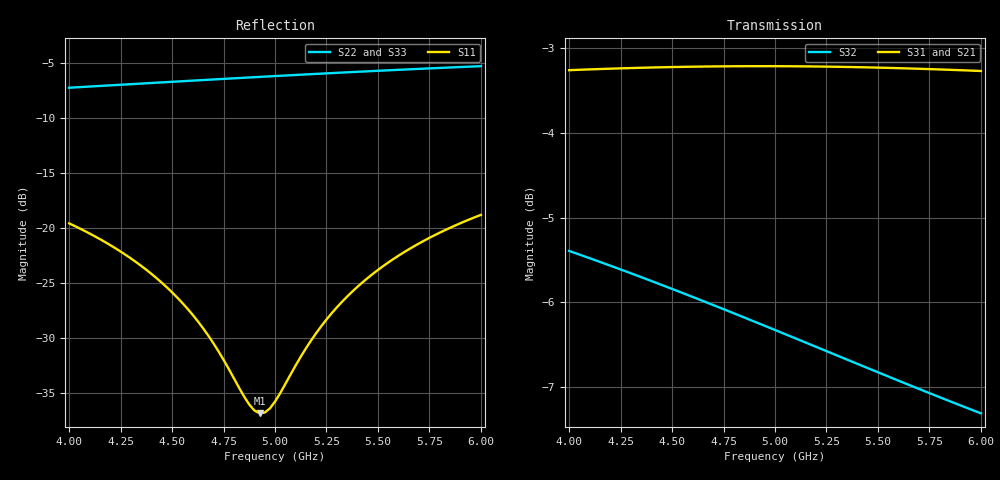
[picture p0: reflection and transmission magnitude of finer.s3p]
! yapnr rf: divider-osh-m-star, footprint re-simulated (refine 3)
! spec sha256 5c8ff818df422873aa88d55bef2dedd6a6ce6afaf8815cf4395bdffaf75e430d
! 3 ports renormalized to 50 ohm, e^(+jwt) convention
# GHz S RI R 50
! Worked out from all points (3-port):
!   81 points, 4 GHz to 6 GHz, reference 50 ohm
!   strongest paths, dB at 4 GHz, 4.5 GHz, 5 GHz, 5.5 GHz, 6 GHz:
!     S31: -3.3, -3.2, -3.2, -3.2, -3.3
!     S21: -3.3, -3.2, -3.2, -3.2, -3.3
!     S32: -5.4, -5.8, -6.3, -6.8, -7.3
!   lowest |S11| = -36.9 dB at 4.925 GHz (marker M1), VSWR 1.03, Z = 48.6 + j0.314 ohm
!   |S11| at or under -10 dB: start of sweep to end of sweep
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4  -0.0347 0.0991  -0.226 -0.6485  -0.226 -0.6485
   -0.226 -0.6485  0.3198 0.2938  -0.4013 -0.3575
   -0.226 -0.6485  -0.4013 -0.3575  0.3198 0.2938
4.5  -0.0146 0.0489  -0.3805 -0.5753  -0.3805 -0.5753
     -0.3805 -0.5752  0.4142 0.2047  -0.4604 -0.2204
     -0.3805 -0.5752  -0.4604 -0.2204  0.4142 0.2047
4.65  -0.0125 0.0327  -0.4228 -0.5455  -0.4228 -0.5455
      -0.4228 -0.5455  0.4379 0.1724  -0.4692 -0.1788
      -0.4228 -0.5455  -0.4692 -0.1788  0.4379 0.1724
4.875  -0.0132 0.00853  -0.4816 -0.4949  -0.4816 -0.4949
       -0.4816 -0.4948  0.4684 0.1197  -0.4754 -0.1175
       -0.4816 -0.4948  -0.4754 -0.1175  0.4684 0.1197
4.925  -0.014 0.00322  -0.4939 -0.4827  -0.4939 -0.4827
       -0.4939 -0.4826  0.4743 0.1074  -0.4757 -0.1041
       -0.4939 -0.4826  -0.4757 -0.1041  0.4743 0.1074
5  -0.0156 -0.00465  -0.5116 -0.4638  -0.5116 -0.4638
   -0.5116 -0.4637  0.4826 0.0885  -0.4754 -0.0844
   -0.5116 -0.4637  -0.4754 -0.0844  0.4826 0.0885
5.2  -0.0221 -0.0249  -0.5551 -0.4102  -0.5551 -0.4102
     -0.5551 -0.4102  0.5006 0.0363  -0.4707 -0.0333
     -0.5551 -0.4102  -0.4707 -0.0333  0.5006 0.0363
5.4  -0.0319 -0.0435  -0.5927 -0.3525  -0.5927 -0.3525
     -0.5927 -0.3525  0.5127 -0.0182  -0.4609 0.0149
     -0.5927 -0.3525  -0.4609 0.0149  0.5127 -0.0182
5.675  -0.0502 -0.0655  -0.6341 -0.2678  -0.6341 -0.2678
       -0.634 -0.2677  0.5192 -0.0953  -0.4404 0.0759
       -0.634 -0.2677  -0.4404 0.0759  0.5192 -0.0953
6  -0.0776 -0.0845  -0.6667 -0.1621  -0.6667 -0.1621
   -0.6666 -0.162  0.5111 -0.1871  -0.4081 0.1393
   -0.6666 -0.162  -0.4081 0.1393  0.5111 -0.1871
